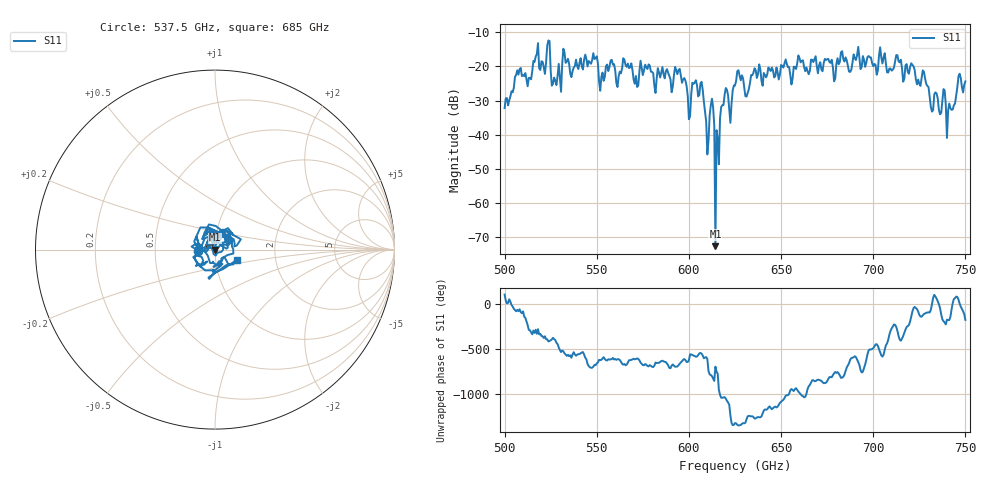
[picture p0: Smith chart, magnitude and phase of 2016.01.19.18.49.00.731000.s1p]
!Created with skrf (http://scikit-rf.org).
# GHz S RI R 50.0
!freq ReS11 ImS11
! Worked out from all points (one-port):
!   401 points, 500 GHz to 750 GHz, reference 50 ohm
!   lowest |S11| = -72.5 dB at 614.4 GHz (marker M1), VSWR 1.00, Z = 50 + j0.00898 ohm
!   |S11| at or under -10 dB: start of sweep to end of sweep
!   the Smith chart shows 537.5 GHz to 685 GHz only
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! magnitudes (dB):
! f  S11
! 500 GHz  -32.2
! 507.5 GHz  -22.4
! 513.8 GHz  -23.4
! 516.9 GHz  -17.2
! 523.8 GHz  -12.5
! 526.9 GHz  -23.3
! 531.2 GHz  -19.3
! 548.8 GHz  -17.9
! 552.5 GHz  -23.1
! 558.1 GHz  -18.1
! 562.5 GHz  -21.6
! 593.8 GHz  -22.3
! 600 GHz  -35.5
! 606.9 GHz  -24.5
! 610 GHz  -45.7
! 612.5 GHz  -29.5
! 614.4 GHz  -72.5
! 615.6 GHz  -41.1
! 616.2 GHz  -48.6
! 618.8 GHz  -31.3
! 622.5 GHz  -36.5
! 625 GHz  -25.6
! 656.2 GHz  -23.6
! 687.5 GHz  -21.6
! 718.8 GHz  -21.6
! 741.2 GHz  -30.9
! 746.2 GHz  -22.9
! 750 GHz  -24.4
